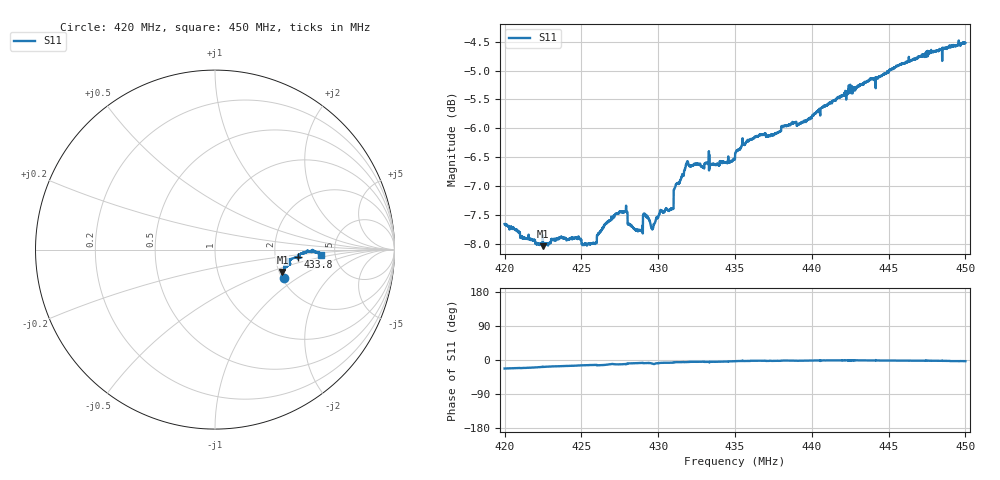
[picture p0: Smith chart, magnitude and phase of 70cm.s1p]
! Calibrated averaged scanner-service zoom
# Hz S RI R 50
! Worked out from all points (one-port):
!   3001 points, 420 MHz to 450 MHz, reference 50 ohm
!   lowest |S11| = -8.0 dB at 422.5 MHz (marker M1), VSWR 2.31, Z = 104 - j30.8 ohm
!   |S11| at or under -10 dB: nowhere
!   S11 on the Smith chart (normalised r, x): 420 MHz: 2.04, -0.78; 433.8 MHz: 2.72, -0.27; 450 MHz: 3.89, -0.38
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4.2e8  0.3826 -0.1581
4.2116e8  0.3761 -0.1441
4.225e8  0.3759 -0.1245
4.2375e8  0.3866 -0.112
4.2585e8  0.3875 -0.0903
4.2616e8  0.3948 -0.0979
4.2696e8  0.4105 -0.078
4.275e8  0.416 -0.0836
4.2785e8  0.4174 -0.0787
4.2816e8  0.4088 -0.0628
4.2885e8  0.405 -0.0566
4.2916e8  0.4166 -0.0603
4.2942e8  0.4135 -0.0581
4.2967e8  0.4044 -0.0743
4.3017e8  0.421 -0.0565
4.3085e8  0.4233 -0.0532
4.3125e8  0.4471 -0.0447
4.3192e8  0.4666 -0.044
4.3377e8  0.4647 -0.0386
4.35e8  0.4705 -0.026
4.3591e8  0.4886 -0.0222
4.3756e8  0.4945 -0.0192
4.3875e8  0.5067 -0.0153
4.3973e8  0.5098 -0.0153
4.425e8  0.5465 -0.0121
4.4625e8  0.5721 -0.0171
4.4743e8  0.5828 -0.0161
4.5e8  0.5933 -0.0314
